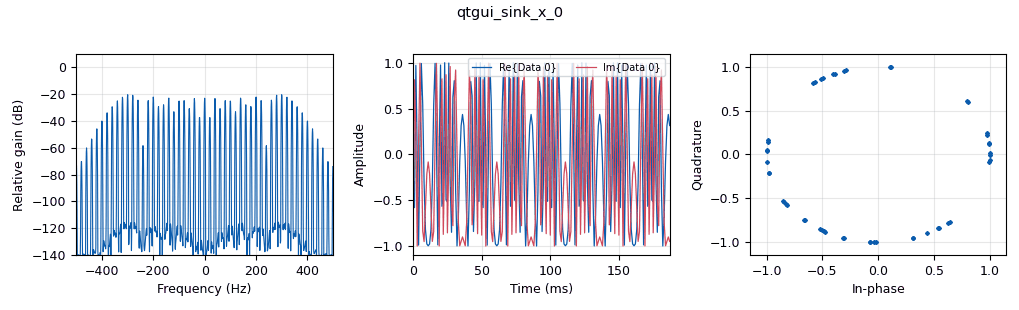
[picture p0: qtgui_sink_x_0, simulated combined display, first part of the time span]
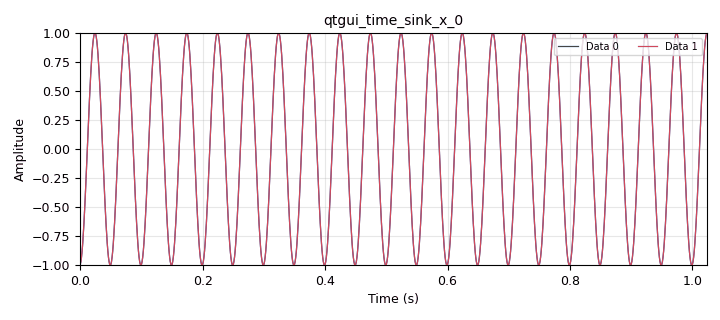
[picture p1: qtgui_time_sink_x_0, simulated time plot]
<?xml version='1.0' encoding='utf-8'?>
<?grc format='1' created='3.7.9'?>
<flow_graph>
<block>
<key>options</key>
<param><key>id</key><value>top_block</value></param>
<param><key>category</key><value>Custom</value></param>
<param><key>generate_options</key><value>qt_gui</value></param>
</block>
<block>
<key>variable_qtgui_range</key>
<param><key>id</key><value>data_freq</value></param>
<param><key>value</key><value>20</value></param>
<param><key>orient</key><value>Qt.Horizontal</value></param>
<param><key>start</key><value>0</value></param>
<param><key>step</key><value>1</value></param>
<param><key>stop</key><value>samp_rate/2</value></param>
</block>
<block>
<key>variable_qtgui_range</key>
<param><key>id</key><value>deviation</value></param>
<param><key>value</key><value>samp_rate/3</value></param>
<param><key>orient</key><value>Qt.Horizontal</value></param>
<param><key>start</key><value>0</value></param>
<param><key>step</key><value>1</value></param>
<param><key>stop</key><value>samp_rate</value></param>
</block>
<block>
<key>variable</key>
<param><key>id</key><value>samp_rate</value></param>
<param><key>value</key><value>1e3</value></param>
</block>
<block>
<key>analog_frequency_modulator_fc</key>
<param><key>id</key><value>analog_frequency_modulator_fc_0</value></param>
<param><key>sensitivity</key><value>2*np.pi*deviation/samp_rate</value></param>
</block>
<block>
<key>analog_quadrature_demod_cf</key>
<param><key>id</key><value>analog_quadrature_demod_cf_0</value></param>
<param><key>gain</key><value>samp_rate/(2*np.pi*deviation)</value></param>
</block>
<block>
<key>analog_sig_source_x</key>
<param><key>id</key><value>analog_sig_source_x_0</value></param>
<param><key>amp</key><value>1</value></param>
<param><key>freq</key><value>data_freq</value></param>
<param><key>offset</key><value>0</value></param>
<param><key>type</key><value>float</value></param>
<param><key>samp_rate</key><value>samp_rate</value></param>
<param><key>waveform</key><value>analog.GR_COS_WAVE</value></param>
</block>
<block>
<key>blocks_file_sink</key>
<param><key>id</key><value>blocks_file_sink_0</value></param>
<param><key>file</key><value>/home/gaspar/git/hwpy/misc/gr_fm_demod/mod_samples.32fc</value></param>
<param><key>type</key><value>complex</value></param>
</block>
<block>
<key>blocks_file_sink</key>
<param><key>id</key><value>blocks_file_sink_0_0</value></param>
<param><key>file</key><value>/home/gaspar/git/hwpy/misc/gr_fm_demod/data.32f</value></param>
<param><key>type</key><value>float</value></param>
</block>
<block>
<key>blocks_throttle</key>
<param><key>id</key><value>blocks_throttle_0</value></param>
<param><key>samples_per_second</key><value>samp_rate</value></param>
<param><key>type</key><value>complex</value></param>
</block>
<block>
<key>import</key>
<param><key>id</key><value>import_0</value></param>
<param><key>import</key><value>import numpy as np</value></param>
</block>
<block>
<key>qtgui_sink_x</key>
<param><key>id</key><value>qtgui_sink_x_0</value></param>
<param><key>bw</key><value>samp_rate</value></param>
<param><key>fc</key><value>0</value></param>
<param><key>freqchangevar</key><value>None</value></param>
<param><key>fftsize</key><value>1024</value></param>
<param><key>showports</key><value>True</value></param>
<param><key>type</key><value>complex</value></param>
<param><key>wintype</key><value>firdes.WIN_BLACKMAN_hARRIS</value></param>
</block>
<block>
<key>qtgui_time_sink_x</key>
<param><key>id</key><value>qtgui_time_sink_x_0</value></param>
<param><key>color1</key><value>"blue"</value></param>
<param><key>label1</key><value></value></param>
<param><key>color2</key><value>"red"</value></param>
<param><key>label2</key><value></value></param>
<param><key>nconnections</key><value>2</value></param>
<param><key>size</key><value>1024</value></param>
<param><key>srate</key><value>samp_rate</value></param>
<param><key>type</key><value>float</value></param>
</block>
<connection><source_block_id>analog_frequency_modulator_fc_0</source_block_id><sink_block_id>analog_quadrature_demod_cf_0</sink_block_id><source_key>0</source_key><sink_key>0</sink_key></connection>
<connection><source_block_id>analog_frequency_modulator_fc_0</source_block_id><sink_block_id>blocks_throttle_0</sink_block_id><source_key>0</source_key><sink_key>0</sink_key></connection>
<connection><source_block_id>analog_quadrature_demod_cf_0</source_block_id><sink_block_id>qtgui_time_sink_x_0</sink_block_id><source_key>0</source_key><sink_key>0</sink_key></connection>
<connection><source_block_id>analog_sig_source_x_0</source_block_id><sink_block_id>analog_frequency_modulator_fc_0</sink_block_id><source_key>0</source_key><sink_key>0</sink_key></connection>
<connection><source_block_id>analog_sig_source_x_0</source_block_id><sink_block_id>blocks_file_sink_0_0</sink_block_id><source_key>0</source_key><sink_key>0</sink_key></connection>
<connection><source_block_id>analog_sig_source_x_0</source_block_id><sink_block_id>qtgui_time_sink_x_0</sink_block_id><source_key>0</source_key><sink_key>1</sink_key></connection>
<connection><source_block_id>blocks_throttle_0</source_block_id><sink_block_id>blocks_file_sink_0</sink_block_id><source_key>0</source_key><sink_key>0</sink_key></connection>
<connection><source_block_id>blocks_throttle_0</source_block_id><sink_block_id>qtgui_sink_x_0</sink_block_id><source_key>0</source_key><sink_key>0</sink_key></connection>
</flow_graph>
